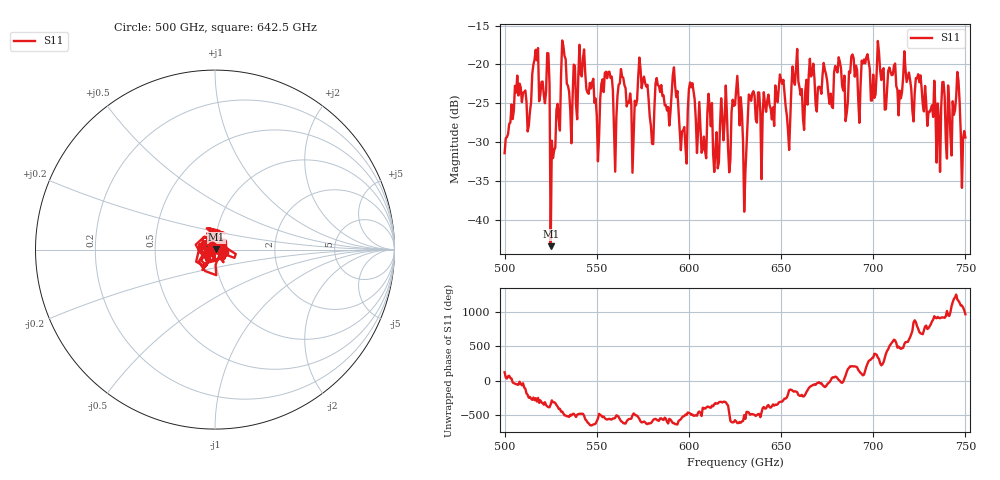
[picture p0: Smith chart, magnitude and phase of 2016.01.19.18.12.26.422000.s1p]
!Created with skrf (http://scikit-rf.org).
# GHz S RI R 50.0
!freq ReS11 ImS11
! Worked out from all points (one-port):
!   401 points, 500 GHz to 750 GHz, reference 50 ohm
!   lowest |S11| = -43.4 dB at 525 GHz (marker M1), VSWR 1.01, Z = 50.7 + j0.189 ohm
!   |S11| at or under -10 dB: start of sweep to end of sweep
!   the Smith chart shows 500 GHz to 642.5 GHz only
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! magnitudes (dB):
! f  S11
! 500 GHz  -31.4
! 506.9 GHz  -21.4
! 513.1 GHz  -27.9
! 516.9 GHz  -18.1
! 523.1 GHz  -18.5
! 525 GHz  -43.4
! 526.2 GHz  -32.1
! 531.2 GHz  -16.9
! 535.6 GHz  -25.9
! 541.9 GHz  -21.6
! 550 GHz  -26.6
! 562.5 GHz  -22.5
! 570 GHz  -29.2
! 573.8 GHz  -20.6
! 580 GHz  -30.2
! 593.8 GHz  -23.4
! 597.5 GHz  -28.1
! 601.9 GHz  -22.4
! 608.1 GHz  -29.3
! 611.2 GHz  -25.4
! 615 GHz  -28.7
! 625 GHz  -25.2
! 630.6 GHz  -33.9
! 633.8 GHz  -24.7
! 656.2 GHz  -20.3
! 687.5 GHz  -21.1
! 718.8 GHz  -21.7
! 750 GHz  -29.4
